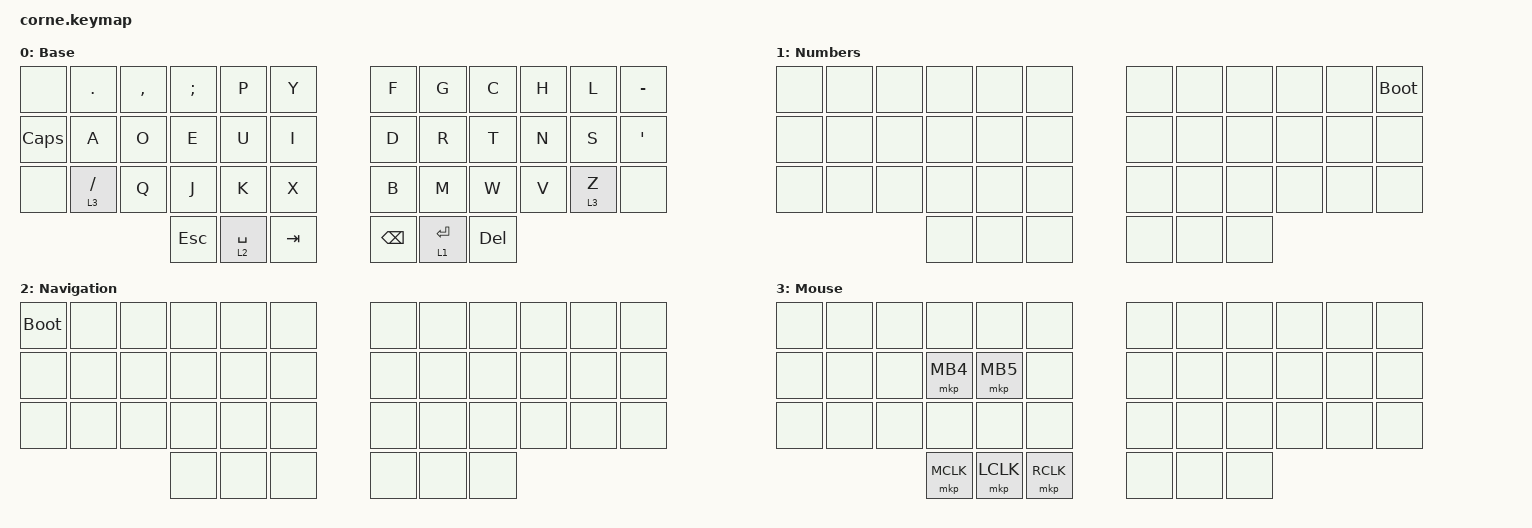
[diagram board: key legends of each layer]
/*
 * Copyright (c) 2020 The ZMK Contributors
 *
 * SPDX-License-Identifier: MIT
 */

#include <behaviors.dtsi>
#include <dt-bindings/zmk/keys.h>
#include <dt-bindings/zmk/pointing.h>

/ {
    keymap {
        compatible = "zmk,keymap";

        base {
            // -----------------------------------------------------------------------------------------
            // |  TAB |  Q  |  W  |  E  |  R  |  T  |   |  Y  |  U   |  I  |  O  |  P  | BSPC |
            // | CTRL |  A  |  S  |  D  |  F  |  G  |   |  H  |  J   |  K  |  L  |  ;  |  '   |
            // | SHFT |  Z  |  X  |  C  |  V  |  B  |   |  N  |  M   |  ,  |  .  |  /  | ESC  |
            //                    | GUI | LWR | SPC |   | ENT | RSE  | ALT |

            bindings = <
&none         &kp DOT      &kp COMMA  &kp SEMI    &kp P        &kp Y      &kp F          &kp G        &kp C       &kp H  &kp L    &kp MINUS
&kp CAPSLOCK  &kp A        &kp O      &kp E       &kp U        &kp I      &kp D          &kp R        &kp T       &kp N  &kp S    &kp SQT
&none         &lt 3 SLASH  &kp Q      &kp J       &kp K        &kp X      &kp B          &kp M        &kp W       &kp V  &lt 3 Z  &none
                                      &kp ESCAPE  &lt 2 SPACE  &kp TAB    &kp BACKSPACE  &lt 1 ENTER  &kp DELETE
            >;

            label = "Base";
        };

        num {
            bindings = <
&none  &none  &none  &none  &none  &none    &none  &none  &none  &none  &none  &bootloader
&none  &none  &none  &none  &none  &none    &none  &none  &none  &none  &none  &none
&none  &none  &none  &none  &none  &none    &none  &none  &none  &none  &none  &none
                     &none  &none  &none    &none  &none  &none
            >;

            label = "Numbers";
        };

        nav {
            bindings = <
&bootloader  &none  &none  &none  &none  &none    &none  &none  &none  &none  &none  &none
&none        &none  &none  &none  &none  &none    &none  &none  &none  &none  &none  &none
&none        &none  &none  &none  &none  &none    &none  &none  &none  &none  &none  &none
                           &none  &none  &none    &none  &none  &none
            >;

            label = "Navigation";
        };

        mouse {
            bindings = <
&none  &none  &none  &none      &none      &none        &none  &none  &none  &none  &none  &none
&none  &none  &none  &mkp MB4   &mkp MB5   &none        &none  &none  &none  &none  &none  &none
&none  &none  &none  &none      &none      &none        &none  &none  &none  &none  &none  &none
                     &mkp MCLK  &mkp LCLK  &mkp RCLK    &none  &none  &none
            >;

            label = "Mouse";
        };
    };
};
